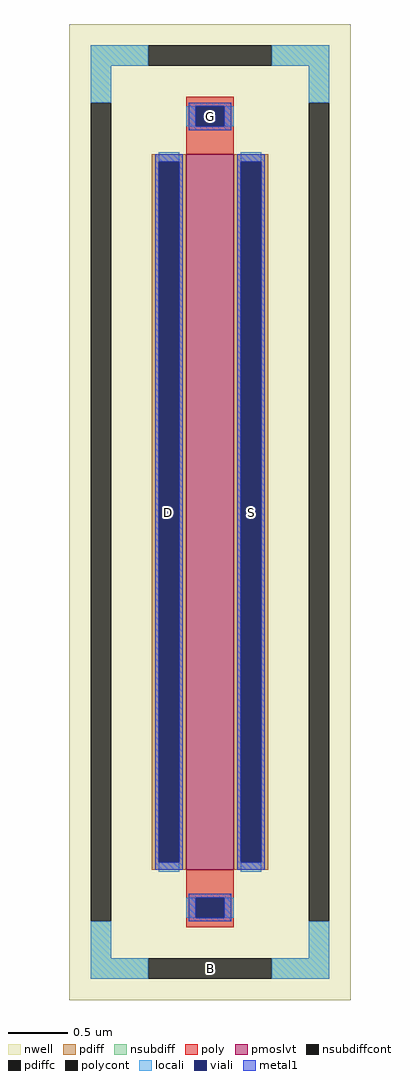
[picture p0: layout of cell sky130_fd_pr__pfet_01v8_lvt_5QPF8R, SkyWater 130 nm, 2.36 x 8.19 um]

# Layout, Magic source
magic
tech sky130A
magscale 1 2
<< nwell >>
rect -236 -819 236 819
<< pmoslvt >>
rect -40 -600 40 600
<< pdiff >>
rect -98 588 -40 600
rect -98 -588 -86 588
rect -52 -588 -40 588
rect -98 -600 -40 -588
rect 40 588 98 600
rect 40 -588 52 588
rect 86 -588 98 588
rect 40 -600 98 -588
<< pdiffc >>
rect -86 -588 -52 588
rect 52 -588 86 588
<< nsubdiff >>
rect -200 749 -104 783
rect 104 749 200 783
rect -200 687 -166 749
rect 166 687 200 749
rect -200 -749 -166 -687
rect 166 -749 200 -687
rect -200 -783 -104 -749
rect 104 -783 200 -749
<< nsubdiffcont >>
rect -104 749 104 783
rect -200 -687 -166 687
rect 166 -687 200 687
rect -104 -783 104 -749
<< poly >>
rect -40 681 40 697
rect -40 647 -24 681
rect 24 647 40 681
rect -40 600 40 647
rect -40 -647 40 -600
rect -40 -681 -24 -647
rect 24 -681 40 -647
rect -40 -697 40 -681
<< polycont >>
rect -24 647 24 681
rect -24 -681 24 -647
<< locali >>
rect -200 749 -104 783
rect 104 749 200 783
rect -200 687 -166 749
rect 166 687 200 749
rect -40 647 -24 681
rect 24 647 40 681
rect -86 588 -52 604
rect -86 -604 -52 -588
rect 52 588 86 604
rect 52 -604 86 -588
rect -40 -681 -24 -647
rect 24 -681 40 -647
rect -200 -749 -166 -687
rect 166 -749 200 -687
rect -200 -783 -104 -749
rect 104 -783 200 -749
<< viali >>
rect -24 647 24 681
rect -86 -588 -52 588
rect 52 -588 86 588
rect -24 -681 24 -647
<< metal1 >>
rect -36 681 36 687
rect -36 647 -24 681
rect 24 647 36 681
rect -36 641 36 647
rect -92 588 -46 600
rect -92 -588 -86 588
rect -52 -588 -46 588
rect -92 -600 -46 -588
rect 46 588 92 600
rect 46 -588 52 588
rect 86 -588 92 588
rect 46 -600 92 -588
rect -36 -647 36 -641
rect -36 -681 -24 -647
rect 24 -681 36 -647
rect -36 -687 36 -681
<< labels >>
rlabel nsubdiffcont 0 -766 0 -766 0 B
port 13 nsew
rlabel pdiffc -69 0 -69 0 0 D
port 14 nsew
rlabel pdiffc 69 0 69 0 0 S
port 15 nsew
rlabel polycont 0 664 0 664 0 G
port 16 nsew
<< properties >>
string FIXED_BBOX -183 -766 183 766
string gencell sky130_fd_pr__pfet_01v8_lvt
string library sky130
string parameters w 6.0 l 0.4 m 1 nf 1 diffcov 100 polycov 100 guard 1 glc 1 grc 1 gtc 1 gbc 1 tbcov 100 rlcov 100 topc 1 botc 1 poverlap 0 doverlap 1 lmin 0.35 wmin 0.42 class mosfet compatible {sky130_fd_pr__pfet_01v8  sky130_fd_pr__pfet_01v8_lvt sky130_fd_pr__pfet_01v8_hvt  sky130_fd_pr__pfet_g5v0d10v5} full_metal 1 conn_gates 0 viasrc 100 viadrn 100 viagate 100 viagb 0 viagr 0 viagl 0 viagt 0 doports 1 ad 1.74 as 1.74 pd 12.58 ps 12.58 nrd 0.0483333333333333 nrs 0.0483333333333333 sa 0 sb 0 sd 0 mult 1
<< end >>
